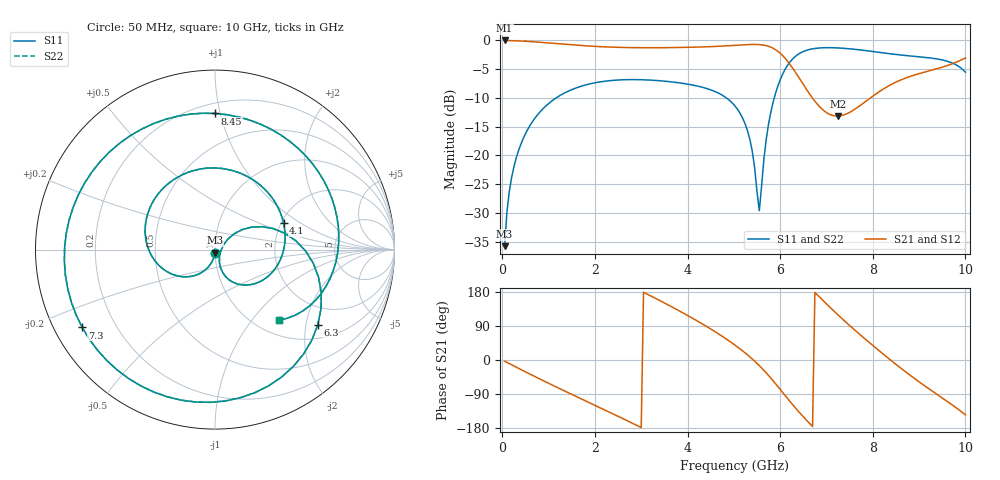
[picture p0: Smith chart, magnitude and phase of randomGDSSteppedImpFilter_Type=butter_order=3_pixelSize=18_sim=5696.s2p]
! freq	dB(S11)	phase(S11)	dB(S12)	phase(S12)
!  dB(S21)	phase(S21)	dB(S22)	phase(S22)
!S-par simulation data
#  GHz  S  DB  R 50
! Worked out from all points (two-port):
!   200 points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, 50 MHz to 10 GHz, reference 50 ohm
!   highest |S21| = -0.01 dB at 50 MHz (marker M1); lowest = -13.2 dB at 7.25 GHz (marker M2)
!   |S21| within 3 dB of the highest: start of sweep to 6.096 GHz
!   lowest |S11| = -35.8 dB at 50 MHz (marker M3), VSWR 1.03, Z = 49.9 - j1.62 ohm
!   |S11| at or under -10 dB: start of sweep to 1.164 GHz; 4.838 GHz to 5.873 GHz (1.036 GHz wide, 19.3 % of centre)
!   |S22| runs from -35.8 to -1.3 dB; largest |S21 - S12| = 0
!   S11 on the Smith chart (normalised r, x): 50 MHz: 1.00, -0.03; 4.1 GHz: 2.06, +0.73; 6.3 GHz: 1.39, -2.34; 7.3 GHz: 0.08, -0.27; 8.45 GHz: 0.27, +0.96; 10 GHz: 1.26, -1.38
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0.05  -35.80 -92.7  -0.01 -3.2  -0.01 -3.2  -35.80 -92.7
0.2  -23.92 -102.8  -0.04 -12.6  -0.04 -12.6  -23.92 -102.7
0.5  -16.24 -121.6  -0.15 -31.2  -0.15 -31.2  -16.24 -121.6
1.1  -10.36 -158.0  -0.51 -67.4  -0.51 -67.4  -10.36 -158.0
1.75  -7.86 164.1  -0.92 -105.2  -0.92 -105.2  -7.86 164.1
2.65  -6.84 112.1  -1.23 -157.4  -1.23 -157.4  -6.84 112.1
3.4  -7.02 66.8  -1.27 157.0  -1.27 157.0  -7.02 66.8
4.1  -7.75 21.2  -1.18 110.8  -1.18 110.8  -7.75 21.2
5.05  -11.66 -49.3  -0.85 37.1  -0.85 37.1  -11.66 -49.3
5.35  -17.37 -71.5  -0.71 7.8  -0.71 7.8  -17.37 -71.5
5.55  -29.63 -13.7  -0.73 -14.9  -0.73 -14.9  -29.65 -13.7
5.8  -12.43 31.6  -1.18 -47.9  -1.18 -47.9  -12.43 31.6
6.05  -5.93 -0.9  -2.61 -85.1  -2.61 -85.1  -5.93 -0.9
6.3  -2.98 -36.2  -5.18 -122.3  -5.18 -122.3  -2.98 -36.2
6.7  -1.46 -86.0  -10.05 -175.4  -10.05 -175.4  -1.46 -86.0
7.25  -1.31 -144.5  -13.16 118.8  -13.16 118.8  -1.31 -144.5
7.3  -1.33 -149.6  -13.11 113.2  -13.11 113.2  -1.33 -149.7
7.75  -1.67 163.6  -11.20 64.3  -11.20 64.3  -1.67 163.5
8.35  -2.30 100.3  -7.88 3.2  -7.88 3.2  -2.30 100.2
8.45  -2.40 90.0  -7.45 -6.6  -7.45 -6.6  -2.40 89.9
9.25  -3.06 14.9  -5.23 -79.1  -5.23 -79.1  -3.06 14.9
10  -5.52 -47.9  -3.06 -144.8  -3.06 -144.8  -5.52 -47.9
